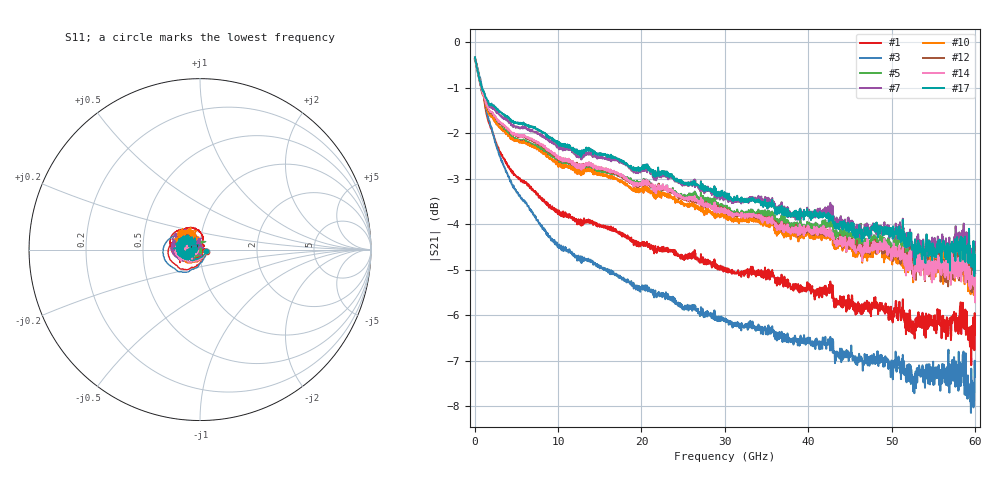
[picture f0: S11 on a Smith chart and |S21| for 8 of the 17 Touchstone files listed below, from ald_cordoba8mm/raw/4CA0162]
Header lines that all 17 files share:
! File created by 'SoftPlot +Plus+ Measurement Management Software'
! SoftPlot +Plus+ Measurement Management Software
! Start 40.000000 MHz  Stop 60.000000 GHz  Points 1601
# MHZ S RI R 50
! S-Parameter data, F S11 S21 S12 S22
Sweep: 40 MHz to 60 GHz
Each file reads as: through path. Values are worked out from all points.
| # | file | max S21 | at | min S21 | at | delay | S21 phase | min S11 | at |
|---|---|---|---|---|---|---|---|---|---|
| 1 | 4CA0162_ALD_00.s2p | -0.37 dB | 40 MHz | -7.1 dB | 59.55 GHz | 61.5 ps | 45 deg at 30.02 GHz | -40.0 dB | 40.93 GHz |
| 2 | 4CA0162_ALD_02.s2p | -0.37 dB | 77.47 MHz | -6.3 dB | 59.89 GHz | 61.2 ps | 51 deg at 30.02 GHz | -38.1 dB | 58.24 GHz |
| 3 | 4CA0162_ALD_04.s2p | -0.38 dB | 40 MHz | -8.1 dB | 59.51 GHz | 61.3 ps | 44 deg at 30.02 GHz | -34.1 dB | 57.94 GHz |
| 4 | 4CA0162_ALD_06.s2p | -0.38 dB | 40 MHz | -5.4 dB | 59.59 GHz | 60.6 ps | 57 deg at 30.02 GHz | -44.1 dB | 42.09 GHz |
| 5 | 4CA0162_ALD_08.s2p | -0.38 dB | 40 MHz | -5.4 dB | 59.85 GHz | 60.3 ps | 60 deg at 30.02 GHz | -42.9 dB | 59.14 GHz |
| 6 | 4CA0162_ALD_10.s2p | -0.36 dB | 40 MHz | -5.1 dB | 59.63 GHz | 60.7 ps | 56 deg at 30.02 GHz | -45.3 dB | 58.2 GHz |
| 7 | 4CA0162_ALD_11.s2p | -0.36 dB | 40 MHz | -5.1 dB | 59.66 GHz | 60.7 ps | 57 deg at 30.02 GHz | -40.7 dB | 58.76 GHz |
| 8 | 4CA0162_ALD_13.s2p | -0.37 dB | 40 MHz | -5.3 dB | 59.93 GHz | 60.5 ps | 58 deg at 30.02 GHz | -43.6 dB | 58.76 GHz |
| 9 | 4CA0162_noALD_01.s2p | -0.38 dB | 40 MHz | -6.0 dB | 59.66 GHz | 60.1 ps | 62 deg at 30.02 GHz | -33.1 dB | 58.39 GHz |
| 10 | 4CA0162_noALD_02.s2p | -0.36 dB | 40 MHz | -5.6 dB | 59.85 GHz | 60.3 ps | 61 deg at 30.02 GHz | -29.7 dB | 8.322 GHz |
| 11 | 4CA0162_noALD_03.s2p | -0.37 dB | 40 MHz | -6.1 dB | 59.66 GHz | 60.1 ps | 63 deg at 30.02 GHz | -40.5 dB | 58.54 GHz |
| 12 | 4CA0162_noALD_05.s2p | -0.36 dB | 40 MHz | -5.5 dB | 59.66 GHz | 59.7 ps | 67 deg at 30.02 GHz | -29.9 dB | 58.01 GHz |
| 13 | 4CA0162_noALD_06.s2p | -0.39 dB | 40 MHz | -5.3 dB | 59.55 GHz | 59.6 ps | 68 deg at 30.02 GHz | -29.7 dB | 8.247 GHz |
| 14 | 4CA0162_noALD_07.s2p | -0.38 dB | 40 MHz | -5.7 dB | 60 GHz | 59.8 ps | 66 deg at 30.02 GHz | -40.9 dB | 58.58 GHz |
| 15 | 4CA0162_noALD_11.s2p | -0.37 dB | 40 MHz | -5.1 dB | 59.85 GHz | 59.7 ps | 68 deg at 30.02 GHz | -31.4 dB | 58.35 GHz |
| 16 | 4CA0162_noALD_12.s2p | -0.38 dB | 40 MHz | -5.2 dB | 59.66 GHz | 59.6 ps | 69 deg at 30.02 GHz | -34.5 dB | 58.95 GHz |
| 17 | 4CA0162_noALD_14.s2p | -0.33 dB | 40 MHz | -5.1 dB | 59.93 GHz | 59.6 ps | 68 deg at 30.02 GHz | -35.4 dB | 58.91 GHz |
